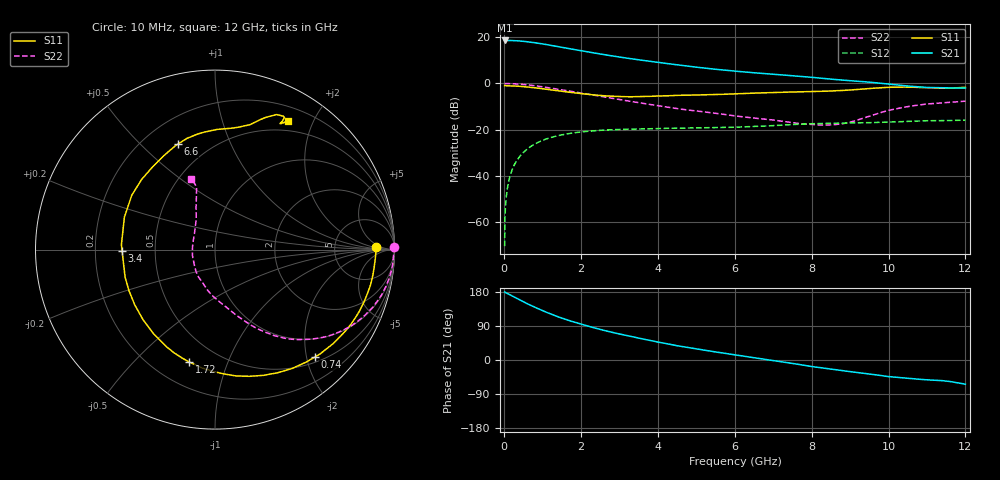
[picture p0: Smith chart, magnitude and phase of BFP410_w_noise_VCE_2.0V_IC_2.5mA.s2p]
! Infineon Technologies  Discrete & RF Semiconductors
! BFP410
! VCE =  2.0 V,  IC =  2.5 mA
! Common Emitter S-Parameters:  Nov 2015
# GHz  S  MA  R  50
!  f  S11  S21  S12  S22
! GHz  MAG  ANG  MAG  ANG  MAG  ANG  MAG  ANG
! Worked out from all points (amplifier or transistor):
!   243 points, 10 MHz to 12 GHz, reference 50 ohm
!   highest |S21| = 18.6 dB at 20 MHz (marker M1)
!   |S21| within 3 dB of that: start of sweep to 1.511 GHz
!   unconditionally stable (mu >= 1): 3.82 GHz to end of sweep
!   at 240 MHz: K = 0.05, MSG = 27.3 dB, |S12| = -36.0 dB
!   at 1.84 GHz: K = 0.43, MSG = 18.0 dB, |S12| = -21.3 dB
!   at 12 GHz: K = 1.12, MAG = 4.8 dB, |S12| = -15.9 dB
!   lowest NFmin = 0.84 dB at 900 MHz
!   S11 on the Smith chart (normalised r, x): 10 MHz: 18, +2; 740 MHz: 0.60, -2.15; 1.72 GHz: 0.35, -0.74; 3.4 GHz: 0.32, -0.01; 6.6 GHz: 0.34, +0.65; 12 GHz: 0.37, +1.66
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0.01  0.8984 0.8  8.524 179.4  0.0003 36.9  0.9979 0.9
0.015  0.8974 0.0  8.535 179.1  0.0008 75.0  0.9949 0.4
0.02  0.8966 -0.8  8.546 178.9  0.0013 83.2  0.9919 -0.1
0.07  0.8936 -4.4  8.524 176.0  0.0046 87.3  0.9952 -2.2
0.195  0.8886 -12.5  8.52 169.7  0.0129 83.2  0.9898 -6.6
0.34  0.8763 -21.9  8.41 162.1  0.0223 78.5  0.9761 -11.6
0.5  0.8561 -32.2  8.201 153.7  0.0323 73.0  0.9533 -16.9
0.74  0.8167 -47.2  7.751 142.0  0.0459 65.1  0.9068 -24.3
0.92  0.7846 -58.3  7.371 133.7  0.055 59.6  0.8661 -29.6
1.18  0.7348 -73.6  6.787 122.6  0.0665 52.3  0.8031 -36.4
1.4  0.6944 -86.0  6.28 114.0  0.0742 46.7  0.7494 -41.4
1.72  0.6425 -102.8  5.626 103.1  0.0831 39.6  0.6783 -47.6
2.02  0.6014 -117.5  5.076 94.0  0.0895 34.0  0.6179 -52.6
2.62  0.5412 -146.3  4.189 77.5  0.0981 24.4  0.5056 -61.3
3.4  0.5174 -178.9  3.345 59.9  0.1031 15.9  0.3958 -70.7
4.1  0.5374 157.5  2.798 45.5  0.1064 10.6  0.3205 -79.9
5  0.5655 136.3  2.255 29.1  0.1093 5.3  0.2533 -94.4
6.1  0.6 116.9  1.822 12.1  0.1137 1.3  0.1943 -111.7
6.6  0.6225 109.5  1.68 4.5  0.118 -0.2  0.1747 -122.7
8.2  0.6745 85.8  1.31 -19.9  0.1356 -9.4  0.126 -175.6
10.2  0.8309 64.2  0.934 -45.6  0.1478 -19.5  0.2837 111.6
12  0.8254 60.3  0.795 -63.8  0.1607 -32.2  0.4143 109.1
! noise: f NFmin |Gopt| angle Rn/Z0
0.45  0.88  0.45  7  0.25
0.9  0.84  0.43  20  0.24
1.8  1.06  0.33  53  0.2
2.4  1.09  0.33  62  0.18
5.5  2.15  0.34  -141  0.2
10  3.77  0.69  -55  2.12
